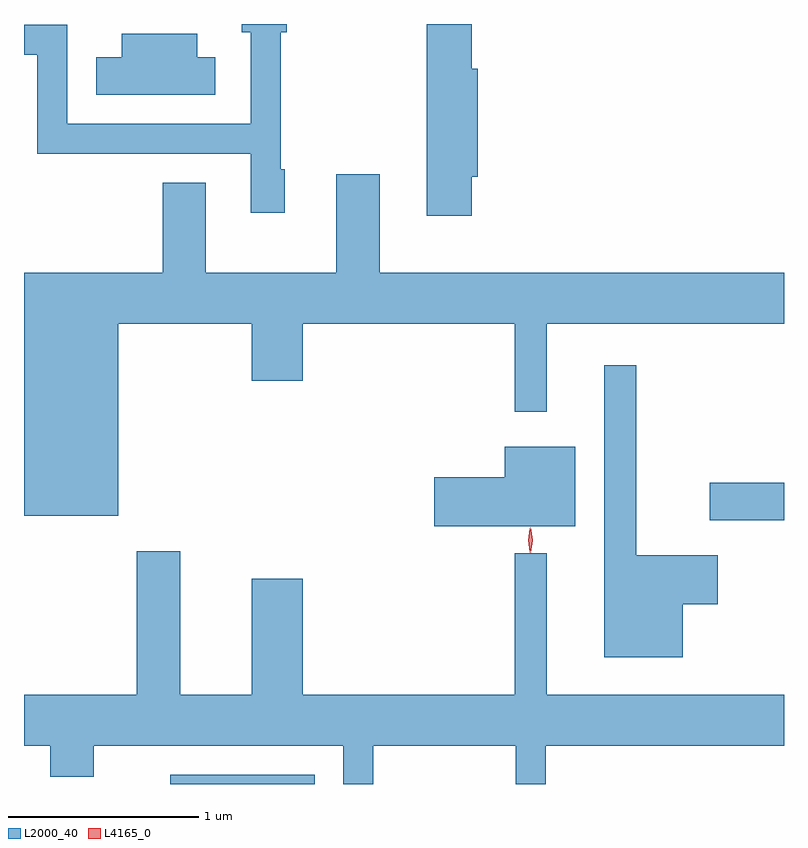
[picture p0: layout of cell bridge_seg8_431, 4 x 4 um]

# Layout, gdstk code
import gdstk
lib = gdstk.Library(unit=1e-6, precision=1e-09)
def R(c, l, rs):  # rectangles x0, y0, x1, y1
    for r in rs: c.add(gdstk.rectangle(r[:2], r[2:], *l))
def P(c, l, *ps):  # polygons
    for p in ps: c.add(gdstk.Polygon(p, *l))
L2000_40 = (2000, 40)
L4165_0 = (4165, 0)

bridge_seg8_431 = lib.new_cell('bridge_seg8_431')
R(bridge_seg8_431, L2000_40, [(873.986,1856.194,874.748,1856.244), (876.826,1857.581,877.217,1857.779)])
P(bridge_seg8_431, L2000_40, [(874.589,1859.429),(874.569,1859.429),(874.569,1860.151),(874.599,1860.151),(874.599,1860.194),(874.363,1860.194),(874.363,1860.151),(874.411,1860.151),(874.411,1859.669),(873.444,1859.669),(873.444,1860.189),(873.217,1860.189),(873.217,1860.031),(873.286,1860.031),(873.286,1859.511),(874.411,1859.511),(874.411,1859.201),(874.589,1859.201)],
  [(875.574,1859.391),(875.604,1859.391),(875.604,1859.959),(875.574,1859.959),(875.574,1860.194),(875.336,1860.194),(875.336,1859.186),(875.574,1859.186)],
  [(874.224,1860.019),(874.129,1860.019),(874.129,1860.144),(873.731,1860.144),(873.731,1860.019),(873.596,1860.019),(873.596,1859.821),(874.224,1859.821)],
  [(873.714,1858.616),(874.416,1858.616),(874.416,1858.316),(874.684,1858.316),(874.684,1858.616),(875.801,1858.616),(875.801,1858.153),(875.969,1858.153),(875.969,1858.616),(877.217,1858.616),(877.217,1858.884),(875.089,1858.884),(875.089,1859.404),(874.861,1859.404),(874.861,1858.884),(874.174,1858.884),(874.174,1859.359),(873.946,1859.359),(873.946,1858.884),(873.217,1858.884),(873.217,1857.606),(873.714,1857.606)],
  [(876.684,1857.141),(876.869,1857.141),(876.869,1857.399),(876.439,1857.399),(876.439,1858.398),(876.271,1858.398),(876.271,1856.861),(876.684,1856.861)],
  [(876.119,1857.969),(875.746,1857.969),(875.746,1857.809),(875.376,1857.809),(875.376,1857.551),(876.119,1857.551)],
  [(874.684,1857.274),(874.416,1857.274),(874.416,1856.664),(874.039,1856.664),(874.039,1857.419),(873.811,1857.419),(873.811,1856.664),(873.217,1856.664),(873.217,1856.396),(873.356,1856.396),(873.356,1856.231),(873.584,1856.231),(873.584,1856.396),(874.896,1856.396),(874.896,1856.194),(875.054,1856.194),(875.054,1856.396),(875.806,1856.396),(875.806,1856.194),(875.964,1856.194),(875.964,1856.396),(877.217,1856.396),(877.217,1856.664),(875.969,1856.664),(875.969,1857.408),(875.801,1857.408),(875.801,1856.664),(874.684,1856.664)])
P(bridge_seg8_431, L4165_0, [(875.884,1857.41),(875.875,1857.478),(875.884,1857.545),(875.884,1857.546),(875.885,1857.545),(875.894,1857.478),(875.885,1857.41),(875.885,1857.41)],
  [(875.88,1857.413),(875.879,1857.414),(875.87,1857.476),(875.879,1857.539),(875.879,1857.54),(875.88,1857.539),(875.889,1857.476),(875.88,1857.414)])

lib.write_gds('bridge_seg8_431.gds')
